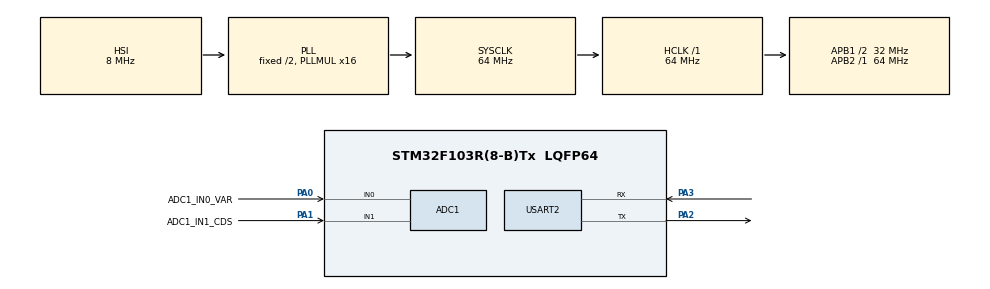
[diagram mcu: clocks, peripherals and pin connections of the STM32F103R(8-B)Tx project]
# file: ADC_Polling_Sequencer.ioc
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ADC1.Channel-11\#ChannelRegularConversion=ADC_CHANNEL_1
ADC1.Channel-8\#ChannelRegularConversion=ADC_CHANNEL_0
ADC1.ContinuousConvMode=ENABLE
ADC1.DiscontinuousConvMode=DISABLE
ADC1.NbrOfConversion=2
ADC1.NbrOfConversionFlag=1
ADC1.Rank-11\#ChannelRegularConversion=2
ADC1.Rank-8\#ChannelRegularConversion=1
ADC1.SamplingTime-11\#ChannelRegularConversion=ADC_SAMPLETIME_13CYCLES_5
ADC1.SamplingTime-8\#ChannelRegularConversion=ADC_SAMPLETIME_13CYCLES_5
ADC1.master=1
Mcu.Family=STM32F1
Mcu.Name=STM32F103R(8-B)Tx
Mcu.Package=LQFP64
NVIC.PriorityGroup=NVIC_PRIORITYGROUP_4
PA0-WKUP.GPIO_Label=ADC1_IN0_VAR
PA0-WKUP.Signal=ADCx_IN0
PA1.GPIO_Label=ADC1_IN1_CDS
PA1.Signal=ADCx_IN1
PA13.Mode=Serial_Wire
PA13.Signal=SYS_JTMS-SWDIO
PA14.Mode=Serial_Wire
PA14.Signal=SYS_JTCK-SWCLK
PA2.Mode=Asynchronous
PA2.Signal=USART2_TX
PA3.Mode=Asynchronous
PA3.Signal=USART2_RX
ProjectManager.HeapSize=0x200
ProjectManager.StackSize=0x400
ProjectManager.TargetToolchain=STM32CubeIDE
RCC.ADCPresc=RCC_ADCPCLK2_DIV8
RCC.AHBFreq_Value=64000000
RCC.APB1CLKDivider=RCC_HCLK_DIV2
RCC.APB1Freq_Value=32000000
RCC.APB1TimFreq_Value=64000000
RCC.APB2Freq_Value=64000000
RCC.APB2TimFreq_Value=64000000
RCC.HCLKFreq_Value=64000000
RCC.PLLMUL=RCC_PLL_MUL16
RCC.SYSCLKFreq_VALUE=64000000
RCC.SYSCLKSource=RCC_SYSCLKSOURCE_PLLCLK
RCC.USBFreq_Value=64000000
SH.ADCx_IN0.0=ADC1_IN0,IN0
SH.ADCx_IN1.0=ADC1_IN1,IN1
USART2.VirtualMode=VM_ASYNC
board=custom

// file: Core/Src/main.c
/* USER CODE BEGIN Header */
/**
  ******************************************************************************
  * @file           : main.c
  * @brief          : Main program body
  ******************************************************************************
  * @attention
  *
  * <h2><center>&copy; Copyright (c) 2020 STMicroelectronics.
  * All rights reserved.</center></h2>
  *
  * This software component is licensed by ST under BSD 3-Clause license,
  * the "License"; You may not use this file except in compliance with the
  * License. You may obtain a copy of the License at:
  *                        opensource.org/licenses/BSD-3-Clause
  *
  ******************************************************************************
  */
/* USER CODE END Header */

#include "main.h"

/* USER CODE BEGIN Includes */
#include <stdio.h>
/* USER CODE END Includes */

ADC_HandleTypeDef hadc1;

UART_HandleTypeDef huart2;

void SystemClock_Config(void);
static void MX_GPIO_Init(void);
static void MX_ADC1_Init(void);
static void MX_USART2_UART_Init(void);

/* USER CODE BEGIN 0 */
#ifdef __GNUC__
#define PUTCHAR_PROTOTYPE int __io_putchar(int ch)
#else
#define PUTCHAR_PROTOTYPE int fputc(int ch, FILE *f)
#endif /* __GNUC__ */

/**
  * @brief  Retargets the C library printf function to the USART.
  * @param  None
  * @retval None
  */
PUTCHAR_PROTOTYPE
{
  /* Place your implementation of fputc here */
  /* e.g. write a character to the UART2 and Loop until the end of transmission */
  if (ch == '\n')
    HAL_UART_Transmit (&huart2, (uint8_t*) "\r", 1, 0xFFFF);
  HAL_UART_Transmit (&huart2, (uint8_t*) &ch, 1, 0xFFFF);

  return ch;
}
/* USER CODE END 0 */

int main(void)
{

  /* MCU Configuration--------------------------------------------------------*/

  /* Reset of all peripherals, Initializes the Flash interface and the Systick. */
  HAL_Init();

  /* Configure the system clock */
  SystemClock_Config();

  /* Initialize all configured peripherals */
  MX_GPIO_Init();
  MX_ADC1_Init();
  MX_USART2_UART_Init();

  /* Infinite loop */
  /* USER CODE BEGIN WHILE */
  uint16_t uwADCxConvertedValue[2];

  /* ### - 1 - Initialize ADC peripheral(CubeMX ?��?�� ?��?��) ##################### */

  /* ### - 2 - Start calibration ############################################ */
  if (HAL_ADCEx_Calibration_Start (&hadc1) != HAL_OK)
    {
      Error_Handler ();
    }

  /* ### - 3 - Channel configuration (MX_ADC1_Init() 처리) ################### */
  while (1)
  {
      /* ### - 4 - Start the conversion process ################################*/
      if (HAL_ADC_Start (&hadc1) != HAL_OK)
        {
          /* Start Conversation Error */
          Error_Handler ();
        }

      for (uint8_t i = 0; i < 2; i++)
        {
          /* ### - 5 - Wait for the end of conversion ############################*/
          HAL_ADC_PollForConversion (&hadc1, 100);

          /* Check if the continuous conversion of regular channel is finished */
          if ((HAL_ADC_GetState (&hadc1) & HAL_ADC_STATE_REG_EOC) == HAL_ADC_STATE_REG_EOC)
            {
              /* ### - 6 - Get the converted value of regular channel ##############*/
              uwADCxConvertedValue[i] = HAL_ADC_GetValue (&hadc1);
            }
        }

      /* ### - 7 - Stop the conversion process #################################*/
      HAL_ADC_Stop (&hadc1);
    /* USER CODE END WHILE */

    /* USER CODE BEGIN 3 */
      printf ("VAR=%4d, CDS=%4d\n", uwADCxConvertedValue[0], uwADCxConvertedValue[1]);
      HAL_Delay (100);
  }
  /* USER CODE END 3 */
}

void SystemClock_Config(void)
{
  RCC_OscInitTypeDef RCC_OscInitStruct = {0};
  RCC_ClkInitTypeDef RCC_ClkInitStruct = {0};
  RCC_PeriphCLKInitTypeDef PeriphClkInit = {0};

  /** Initializes the CPU, AHB and APB busses clocks
  */
  RCC_OscInitStruct.OscillatorType = RCC_OSCILLATORTYPE_HSI;
  RCC_OscInitStruct.HSIState = RCC_HSI_ON;
  RCC_OscInitStruct.HSICalibrationValue = RCC_HSICALIBRATION_DEFAULT;
  RCC_OscInitStruct.PLL.PLLState = RCC_PLL_ON;
  RCC_OscInitStruct.PLL.PLLSource = RCC_PLLSOURCE_HSI_DIV2;
  RCC_OscInitStruct.PLL.PLLMUL = RCC_PLL_MUL16;
  if (HAL_RCC_OscConfig(&RCC_OscInitStruct) != HAL_OK)
  {
    Error_Handler();
  }
  /** Initializes the CPU, AHB and APB busses clocks
  */
  RCC_ClkInitStruct.ClockType = RCC_CLOCKTYPE_HCLK|RCC_CLOCKTYPE_SYSCLK
                              |RCC_CLOCKTYPE_PCLK1|RCC_CLOCKTYPE_PCLK2;
  RCC_ClkInitStruct.SYSCLKSource = RCC_SYSCLKSOURCE_PLLCLK;
  RCC_ClkInitStruct.AHBCLKDivider = RCC_SYSCLK_DIV1;
  RCC_ClkInitStruct.APB1CLKDivider = RCC_HCLK_DIV2;
  RCC_ClkInitStruct.APB2CLKDivider = RCC_HCLK_DIV1;

  if (HAL_RCC_ClockConfig(&RCC_ClkInitStruct, FLASH_LATENCY_2) != HAL_OK)
  {
    Error_Handler();
  }
  PeriphClkInit.PeriphClockSelection = RCC_PERIPHCLK_ADC;
  PeriphClkInit.AdcClockSelection = RCC_ADCPCLK2_DIV8;
  if (HAL_RCCEx_PeriphCLKConfig(&PeriphClkInit) != HAL_OK)
  {
    Error_Handler();
  }
}

static void MX_ADC1_Init(void)
{

  ADC_ChannelConfTypeDef sConfig = {0};

  /** Common config
  */
  hadc1.Instance = ADC1;
  hadc1.Init.ScanConvMode = ADC_SCAN_ENABLE;
  hadc1.Init.ContinuousConvMode = ENABLE;
  hadc1.Init.DiscontinuousConvMode = DISABLE;
  hadc1.Init.ExternalTrigConv = ADC_SOFTWARE_START;
  hadc1.Init.DataAlign = ADC_DATAALIGN_RIGHT;
  hadc1.Init.NbrOfConversion = 2;
  if (HAL_ADC_Init(&hadc1) != HAL_OK)
  {
    Error_Handler();
  }
  /** Configure Regular Channel
  */
  sConfig.Channel = ADC_CHANNEL_0;
  sConfig.Rank = ADC_REGULAR_RANK_1;
  sConfig.SamplingTime = ADC_SAMPLETIME_13CYCLES_5;
  if (HAL_ADC_ConfigChannel(&hadc1, &sConfig) != HAL_OK)
  {
    Error_Handler();
  }
  /** Configure Regular Channel
  */
  sConfig.Channel = ADC_CHANNEL_1;
  sConfig.Rank = ADC_REGULAR_RANK_2;
  if (HAL_ADC_ConfigChannel(&hadc1, &sConfig) != HAL_OK)
  {
    Error_Handler();
  }

}

static void MX_USART2_UART_Init(void)
{

  huart2.Instance = USART2;
  huart2.Init.BaudRate = 115200;
  huart2.Init.WordLength = UART_WORDLENGTH_8B;
  huart2.Init.StopBits = UART_STOPBITS_1;
  huart2.Init.Parity = UART_PARITY_NONE;
  huart2.Init.Mode = UART_MODE_TX_RX;
  huart2.Init.HwFlowCtl = UART_HWCONTROL_NONE;
  huart2.Init.OverSampling = UART_OVERSAMPLING_16;
  if (HAL_UART_Init(&huart2) != HAL_OK)
  {
    Error_Handler();
  }

}

static void MX_GPIO_Init(void)
{

  /* GPIO Ports Clock Enable */
  __HAL_RCC_GPIOA_CLK_ENABLE();

}

void Error_Handler(void)
{
  /* USER CODE BEGIN Error_Handler_Debug */
  /* User can add his own implementation to report the HAL error return state */
  //printf("Error!\n");
  /* USER CODE END Error_Handler_Debug */
}

/************************ (C) COPYRIGHT STMicroelectronics *****END OF FILE****/
